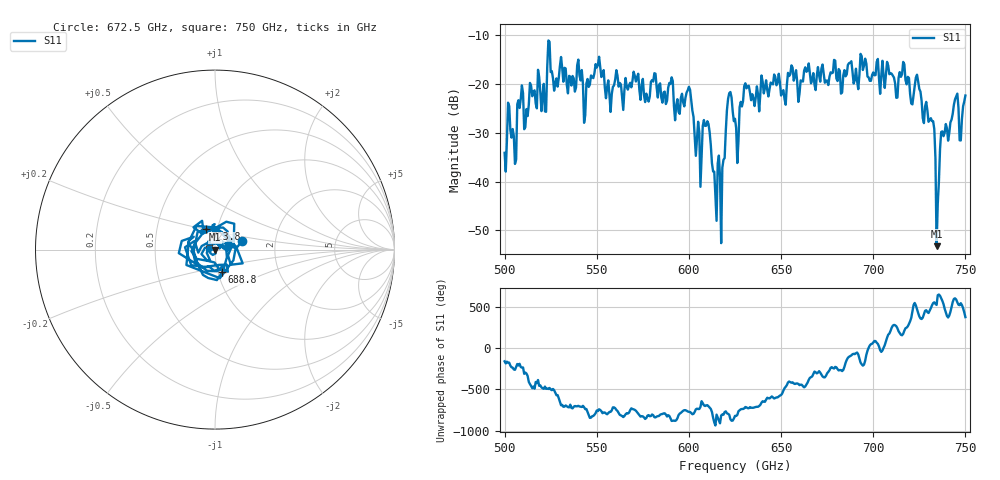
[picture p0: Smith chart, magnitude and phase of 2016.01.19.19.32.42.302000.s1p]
!Created with skrf (http://scikit-rf.org).
# GHz S RI R 50.0
!freq ReS11 ImS11
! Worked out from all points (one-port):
!   401 points, 500 GHz to 750 GHz, reference 50 ohm
!   lowest |S11| = -53.2 dB at 734.4 GHz (marker M1), VSWR 1.00, Z = 49.8 + j0.0489 ohm
!   |S11| at or under -10 dB: start of sweep to end of sweep
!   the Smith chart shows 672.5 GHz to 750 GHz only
!   S11 on the Smith chart (normalised r, x): 672.5 GHz: 1.35, +0.13; 688.8 GHz: 1.05, -0.27; 723.8 GHz: 0.88, +0.20; 750 GHz: 1.15, +0.06
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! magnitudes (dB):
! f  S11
! 500 GHz  -34.1
! 503.1 GHz  -29.5
! 505 GHz  -30.7
! 508.8 GHz  -23.2
! 511.9 GHz  -25.2
! 521.2 GHz  -20.0
! 524.4 GHz  -11.4
! 531.2 GHz  -16.8
! 562.5 GHz  -19.8
! 590 GHz  -20.0
! 593.8 GHz  -23.1
! 600 GHz  -20.6
! 605 GHz  -27.8
! 609.4 GHz  -28.6
! 616.2 GHz  -34.7
! 621.9 GHz  -21.9
! 625 GHz  -27.2
! 631.2 GHz  -20.9
! 656.2 GHz  -16.7
! 672.5 GHz  -16.1
! 687.5 GHz  -15.7
! 688.8 GHz  -17.5
! 718.8 GHz  -18.6
! 723.8 GHz  -18.1
! 731.9 GHz  -27.6
! 734.4 GHz  -53.2
! 738.1 GHz  -30.7
! 750 GHz  -22.4
